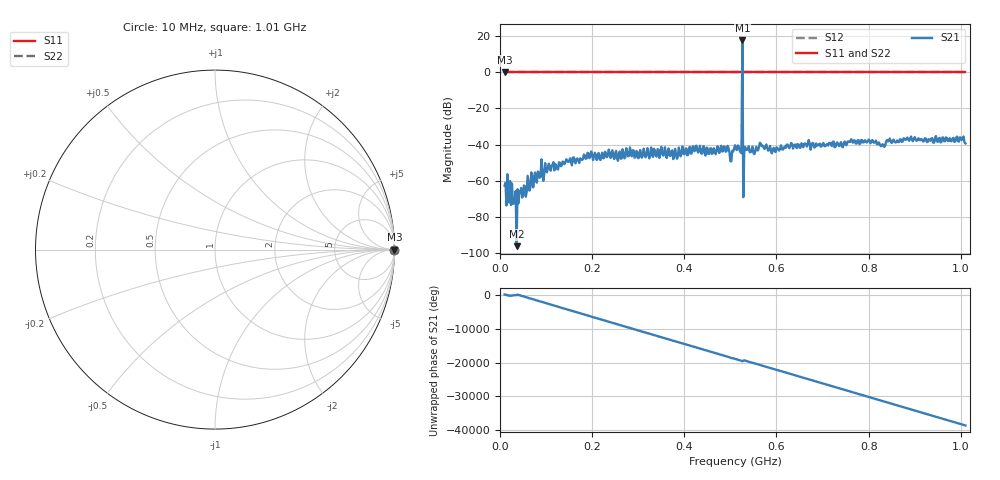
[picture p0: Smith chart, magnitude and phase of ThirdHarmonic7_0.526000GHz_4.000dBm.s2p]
! 8/17/2025 3:34:40 PM
! C:\ANRITSUVNA\TEMP\TEMP.S2P
! CHANNEL.1
! TR.MEASUREMENT
! RAW.DATA
! RF.CORRECTION.OFF
! AVERAGING.OFF
! IF.BANDWIDTH: 5KHZ
! SWEEPTYPE:  FREQ.SWEEP(Linear)
! Reference Plane Port Info
! PORT:  PORT1  PORT2
! DISTANCE:  0  m  0  m
! TIME:  0  s  0  s
! PHASE.OFFSET:  0  deg.  0  deg.
! LOSS:  0  dB  0  dB
! REF.LOSS:  0  dB  0  dB
! REF.FREQ:  0  Hz  0  Hz
! Power Info
! POWER:  -20  dBm  -20  dBm
! EFF.POWER:  -20  dBm  -20  dBm
! SOURCE.ATTEN:  0  dB  0  dB
! TEST.ATTEN:  0  dB  0  dB
# GHZ S RI R 50.0
! FREQ.GHZ  S11RE  S11IM  S21RE  S21IM  S12RE  S12IM  S22RE  S22IM
!; PortSelection: Port_12
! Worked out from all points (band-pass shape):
!   501 points, 10 MHz to 1.01 GHz, reference 50 ohm
!   highest |S21| = 17.76 dB at 526 MHz (marker M1); lowest = -96.4 dB at 36 MHz (marker M2)
!   |S21| within 3 dB of the highest: 525.9041 MHz to 526.0689 MHz (164.8 kHz wide, 0.0313 % of centre)
!   lowest |S11| = 0.0 dB at 10 MHz (marker M3)
!   |S11| at or under -10 dB: nowhere
!   |S22| runs from 0.0 to 0.0 dB; largest |S21 - S12| = 8.7
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0.01  1 0  -0.000601 0.000397  1 0  1 0
0.036  1 0  1.23e-05 -8.7e-06  1 0  1 0
0.086  1 0  0.000856 -0.000837  1 0  1 0
0.178  1 0  -0.00344 -0.00138  1 0  1 0
0.344  1 0  0.0065 -0.00293  1 0  1 0
0.49  1 0  -0.00129 -0.00615  1 0  1 0
0.502  1 0  0.00302 0.00157  1 0  1 0
0.51  1 0  -0.00946 0.00128  1 0  1 0
0.52  1 0  -0.00486 0.00501  1 0  1 0
0.522  1 0  0.00274 0.00547  1 0  1 0
0.524  1 0  0.00488 -0.00302  1 0  1 0
0.526  1 0  -7.684 0.8059  1 0  1 0
0.53  1 0  -0.0017 0.00598  1 0  1 0
0.532  1 0  0.00808 0.00271  1 0  1 0
0.536  1 0  -0.00718 0.000633  1 0  1 0
0.566  1 0  -3.16e-05 0.0105  1 0  1 0
0.594  1 0  0.00522 0.00614  1 0  1 0
0.678  1 0  0.00337 -0.0105  1 0  1 0
0.766  1 0  0.011 -0.00217  1 0  1 0
0.83  1 0  0.00432 -0.00923  1 0  1 0
0.844  1 0  -0.00289 0.0125  1 0  1 0
1.01  1 0  -0.00191 -0.0106  1 0  1 0
